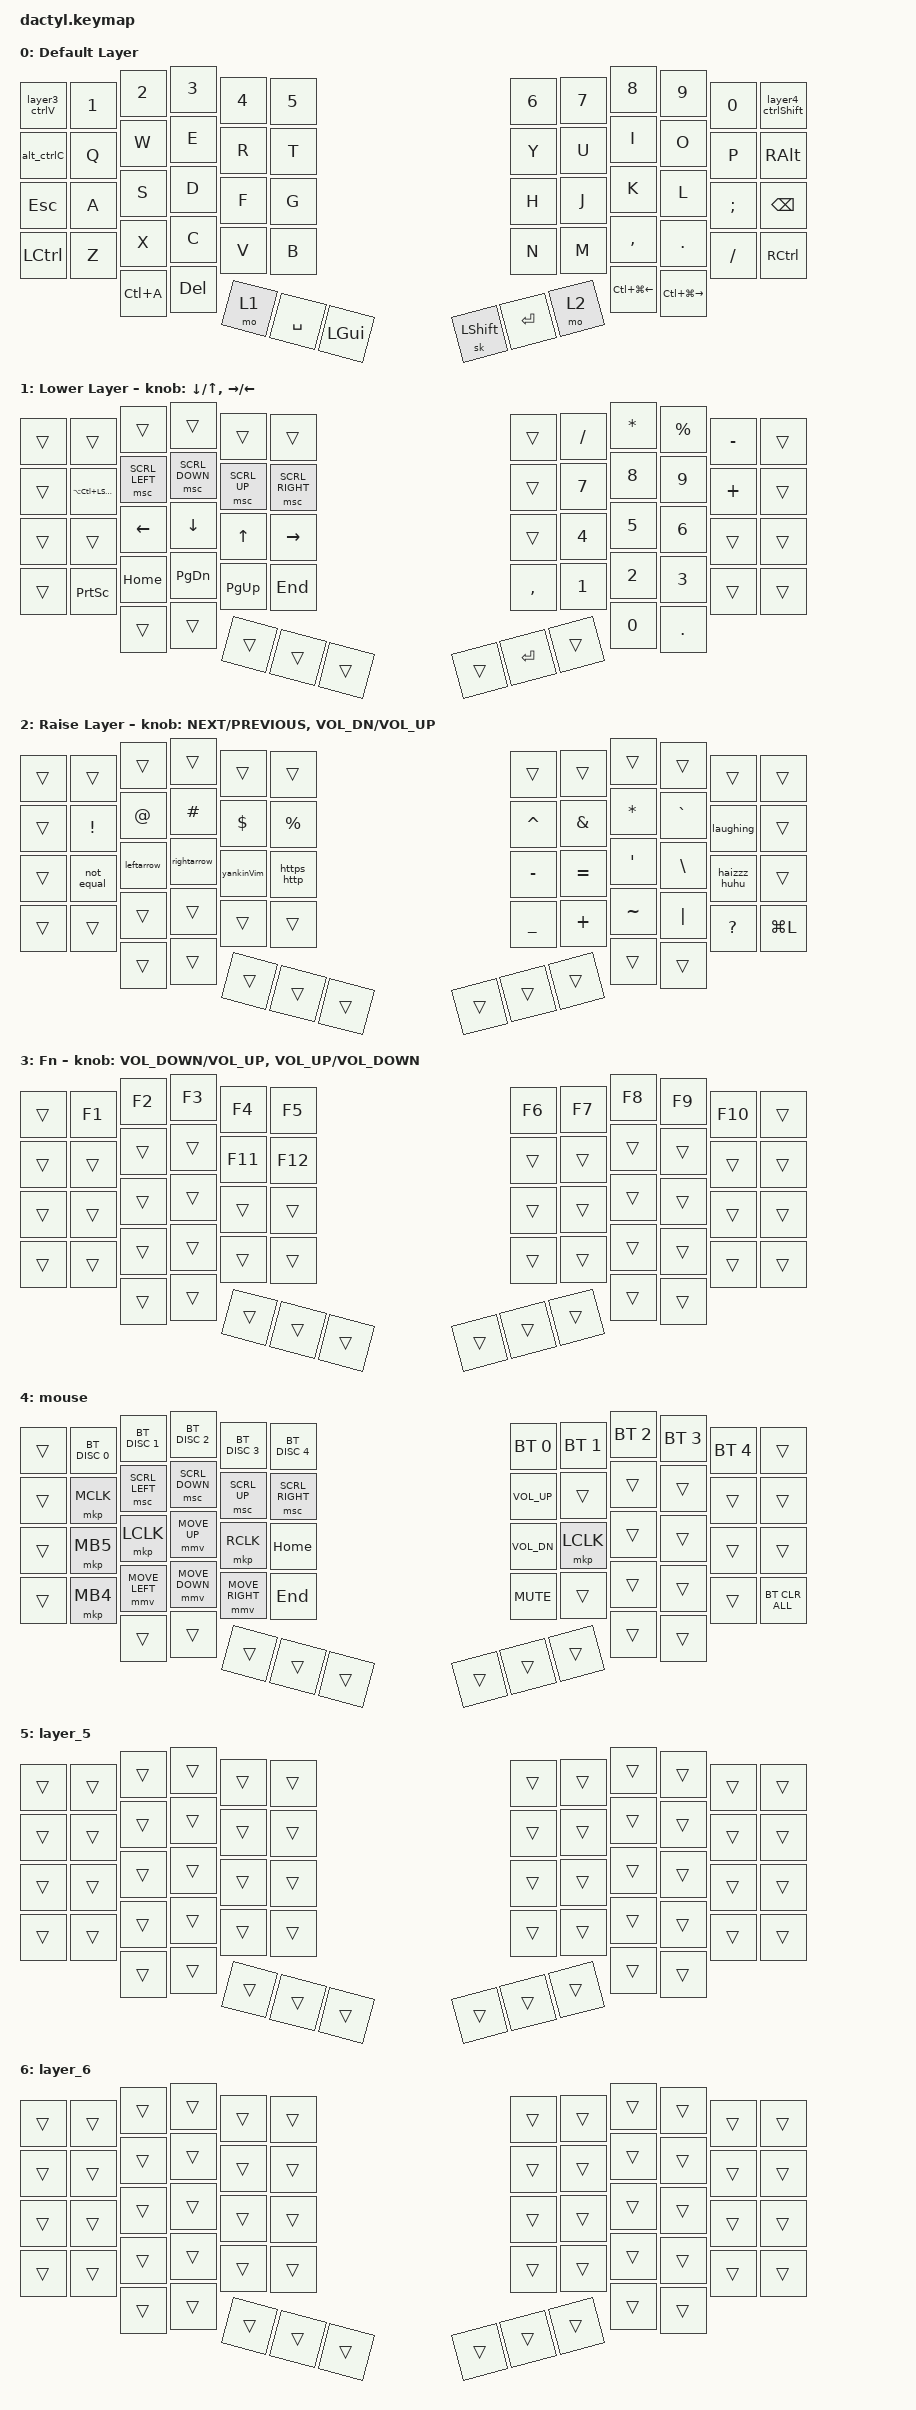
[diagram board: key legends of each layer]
/*
 * Copyright (c) 2020 The ZMK Contributors
 *
 * SPDX-License-Identifier: MIT
 */

#include <input/processors.dtsi>
#include <zephyr/dt-bindings/input/input-event-codes.h>
#include <dt-bindings/zmk/mouse.h>
#include <behaviors/mouse_keys.dtsi>
#include <behaviors.dtsi>
#include <dt-bindings/zmk/bt.h>
#include <dt-bindings/zmk/keys.h>
#include <dt-bindings/zmk/pointing.h>

#define ZMK_POINTING_DEFAULT_MOVE_VAL 1200  // 600
#define ZMK_POINTING_DEFAULT_SCRL_VAL 200   // mousescroll SPEED

&mmv_input_listener { input-processors = <&zip_xy_scaler 2 1>; };

&msc_input_listener { input-processors = <&zip_scroll_scaler 2 1>; };

&msc {
    acceleration-exponent = <1>;      // 0
    time-to-max-speed-ms = <3000>;       // 300
    delay-ms = <0>;                   // 0
};

&mmv {
    time-to-max-speed-ms = <1000>;
    acceleration-exponent = <1>;
    trigger-period-ms = <16>;
};

&soft_off {
    hold-time-ms = <3000>; // Only turn off it the key is held for 3 seconds or longer.
};

&mt {
    tapping-term-ms = <300>;
    flavor = "tap-preferred";
};

&lt { tapping-term-ms = <300>; };

&sk {
    quick-release;
    lazy;
};

/ {
    behaviors {
        laughing: laughing {
            compatible = "zmk,behavior-tap-dance";
            label = "LAUGHING";
            #binding-cells = <0>;
            bindings = <&hihi>, <&haha>;
        };

        https_http: https_http {
            compatible = "zmk,behavior-tap-dance";
            label = "HTTPS_HTTP";
            #binding-cells = <0>;
            bindings = <&https>, <&http>;
        };

        haizzz_huhu: haizzz_huhu {
            compatible = "zmk,behavior-tap-dance";
            label = "HAIZZZ_HUHU";
            #binding-cells = <0>;
            bindings = <&haizzzz>, <&huhu>;
        };

        layer3_ctrlV: layer3_ctrlV {
            compatible = "zmk,behavior-tap-dance";
            label = "LAYER3_CTRLV";
            #binding-cells = <0>;
            bindings = <&mo 3>, <&kp LC(V)>;
        };

        layer4_ctrlShift: layer4_ctrlShift {
            compatible = "zmk,behavior-tap-dance";
            label = "LAYER4_CTRLSHIFT";
            #binding-cells = <0>;
            bindings = <&mo 4>, <&kp LC(LEFT_SHIFT)>;
        };

        alt_ctrlC: alt_ctrlC {
            compatible = "zmk,behavior-tap-dance";
            label = "ALT_CTRLC";
            #binding-cells = <0>;
            bindings = <&kp LEFT_ALT>, <&kp LC(C)>;
        };

        stk_Shift_mo2: stk_Shift_mo2 {
            compatible = "zmk,behavior-hold-tap";
            label = "STK_SHIFT_MO2";
            bindings = <&mo>, <&sk>;

            #binding-cells = <2>;
            tapping-term-ms = <1>;
            flavor = "balanced";
        };
    };

    combos {
        compatible = "zmk,combos";

        leftParenthesis {
            bindings = <&kp LEFT_PARENTHESIS>;
            key-positions = <20 19>;
            layers = <0 1 2>;
        };

        rightParenthesis {
            bindings = <&kp RIGHT_PARENTHESIS>;
            key-positions = <20 21>;
            layers = <0 1 2>;
        };

        leftBracket {
            bindings = <&kp LEFT_BRACKET>;
            key-positions = <31 32>;
            layers = <0 1 2>;
        };

        rightBracket {
            bindings = <&kp RIGHT_BRACKET>;
            key-positions = <32 33>;
            layers = <0 1 2>;
        };

        leftBrace {
            bindings = <&kp LEFT_BRACE>;
            key-positions = <43 44>;
            layers = <0 1 2>;
        };

        rightBrace {
            bindings = <&kp RIGHT_BRACE>;
            key-positions = <44 45>;
            layers = <0 1 2>;
        };

        doubleQuotes {
            bindings = <&kp DOUBLE_QUOTES>;
            key-positions = <19 21>;
            layers = <0 1 2>;
        };

        lessThan {
            bindings = <&kp LESS_THAN>;
            key-positions = <31 33>;
            layers = <0 1 2>;
        };

        greaterThan {
            bindings = <&kp GREATER_THAN>;
            key-positions = <43 45>;
            layers = <0 1 2>;
        };

        colon {
            bindings = <&kp COLON>;
            key-positions = <33 34>;
            layers = <0 1 2>;
        };

        backSpace {
            bindings = <&kp BACKSPACE>;
            key-positions = <37 38>;
            layers = <0 1 2>;
        };

        delete {
            bindings = <&kp DELETE>;
            key-positions = <38 39>;
            layers = <0 1 2>;
        };

        shift {
            bindings = <&kp LEFT_SHIFT>;
            key-positions = <39 40>;
            layers = <0>;
        };

        return {
            bindings = <&kp RET>;
            key-positions = <28 41>;
            layers = <0 1 2>;
        };

        tab {
            bindings = <&kp TAB>;
            key-positions = <28 27>;
            layers = <0 1 2>;
        };

        capsLock {
            bindings = <&kp CAPSLOCK>;
            key-positions = <18 19>;
            layers = <0 1 2>;
        };

        capsWords {
            bindings = <&caps_word>;
            key-positions = <30 31>;
            layers = <0 1 2>;
        };

        stickyShift {
            bindings = <&sk LEFT_SHIFT>;
            key-positions = <31 34>;
        };
    };

    macros {
        hihi: laughing {
            compatible = "zmk,behavior-macro";
            #binding-cells = <0>;
            bindings = <&none &kp COLON &kp RPAR &kp RPAR &kp RPAR>;
            label = "LAUGHING";
        };

        haha: haha {
            compatible = "zmk,behavior-macro";
            #binding-cells = <0>;
            bindings = <&none &kp EQUAL &kp RPAR &kp RPAR &kp RPAR &kp RPAR &kp RPAR &kp RPAR &kp RPAR &kp RPAR>;
            label = "HAHA";
        };

        yankinVim: yankinVim {
            compatible = "zmk,behavior-macro";
            #binding-cells = <0>;
            bindings = <&none &kp DQT &kp PLUS &kp Y>;
            label = "YANKINVIM";
        };

        https: https {
            compatible = "zmk,behavior-macro";
            #binding-cells = <0>;
            bindings = <&none &kp H &kp T &kp T &kp P &kp S &kp COLON &kp FSLH &kp FSLH>;
            label = "HTTPS";
        };

        http: http {
            compatible = "zmk,behavior-macro";
            #binding-cells = <0>;
            bindings = <&none &kp H &kp T &kp T &kp P &kp COLON &kp FSLH &kp FSLH>;
            label = "HTTP";
        };

        rightarrow: rightarrow {
            compatible = "zmk,behavior-macro";
            #binding-cells = <0>;
            bindings = <&none &kp MINUS &kp GT>;
            label = "RIGHTARROW";
        };

        haizzzz: haizzzz {
            compatible = "zmk,behavior-macro";
            #binding-cells = <0>;
            bindings = <&none &kp EQUAL &kp DOT &kp EQUAL>;
            label = "HAIZZZZ";
        };

        huhu: huhu {
            compatible = "zmk,behavior-macro";
            #binding-cells = <0>;
            bindings = <&none &kp COLON &kp LPAR &kp LPAR &kp LPAR &kp LPAR>;
            label = "HUHU";
        };

        leftarrow: leftarrow {
            compatible = "zmk,behavior-macro";
            #binding-cells = <0>;
            bindings = <&none &kp LT &kp MINUS>;
            label = "LEFTARROW";
        };

        not_equal: not_equal {
            compatible = "zmk,behavior-macro";
            #binding-cells = <0>;
            bindings = <&none &kp EXCL &kp EQUAL>;
            label = "NOT_EQUAL";
        };

        left_arrow: left_arrow {
            compatible = "zmk,behavior-macro";
            #binding-cells = <0>;
            bindings = <&none &kp LT &kp MINUS>;
            label = "LEFT_ARROW";
        };
    };

    keymap {
        compatible = "zmk,keymap";

        default_layer {
            display-name = "Default Layer";
            bindings = <
&layer3_ctrlV     &kp N1        &kp N2     &kp N3      &kp N4  &kp N5     &kp N6   &kp N7  &kp N8            &kp N9             &kp N0          &layer4_ctrlShift
&alt_ctrlC        &kp Q         &kp W      &kp E       &kp R   &kp T      &kp Y    &kp U   &kp I             &kp O              &kp P           &kp RIGHT_ALT
&kp ESCAPE        &kp A         &kp S      &kp D       &kp F   &kp G      &kp H    &kp J   &kp K             &kp L              &kp SEMI        &kp BACKSPACE
&kp LEFT_CONTROL  &kp Z         &kp X      &kp C       &kp V   &kp B      &kp N    &kp M   &kp COMMA         &kp DOT            &kp FSLH        &kp RCTRL
                  &kp LEFT_GUI  &kp LC(A)  &kp DELETE  &mo 1   &kp SPACE  &kp RET  &mo 2   &kp LC(LG(LEFT))  &kp LC(LG(RIGHT))  &sk LEFT_SHIFT
            >;
        };

        numbers {
            display-name = "Lower Layer";
            bindings = <
&trans  &trans                  &trans          &trans          &trans        &trans           &trans     &kp SLASH     &kp ASTERISK  &kp PERCENT   &kp MINUS  &trans
&trans  &kp LA(LC(LEFT_SHIFT))  &msc SCRL_LEFT  &msc SCRL_DOWN  &msc SCRL_UP  &msc SCRL_RIGHT  &trans     &kp NUMBER_7  &kp NUMBER_8  &kp NUMBER_9  &kp PLUS   &trans
&trans  &trans                  &kp LEFT_ARROW  &kp DOWN        &kp UP_ARROW  &kp RIGHT        &trans     &kp NUMBER_4  &kp NUMBER_5  &kp NUMBER_6  &trans     &trans
&trans  &kp PRINTSCREEN         &kp HOME        &kp PAGE_DOWN   &kp PG_UP     &kp END          &kp COMMA  &kp NUMBER_1  &kp NUMBER_2  &kp NUMBER_3  &trans     &trans
        &trans                  &trans          &trans          &trans        &trans           &kp RET    &trans        &kp NUMBER_0  &kp DOT       &trans
            >;

            sensor-bindings =
                <&inc_dec_kp DOWN UP_ARROW>,
                <&inc_dec_kp RIGHT LEFT>;
        };

        characters {
            display-name = "Raise Layer";
            bindings = <
&trans  &trans           &trans       &trans       &trans      &trans       &trans          &trans         &trans            &trans         &trans        &trans
&trans  &kp EXCLAMATION  &kp AT_SIGN  &kp HASH     &kp DOLLAR  &kp PERCENT  &kp CARET       &kp AMPERSAND  &kp ASTERISK      &kp GRAVE      &laughing     &trans
&trans  &not_equal       &leftarrow   &rightarrow  &yankinVim  &https_http  &kp MINUS       &kp EQUAL      &kp SINGLE_QUOTE  &kp BACKSLASH  &haizzz_huhu  &trans
&trans  &trans           &trans       &trans       &trans      &trans       &kp UNDERSCORE  &kp PLUS       &kp TILDE         &kp PIPE       &kp QUESTION  &kp LG(L)
        &trans           &trans       &trans       &trans      &trans       &trans          &trans         &trans            &trans         &trans
            >;

            sensor-bindings =
                <&inc_dec_kp C_NEXT C_PREVIOUS>,
                <&inc_dec_kp C_VOL_DN C_VOL_UP>;
        };

        Fn {
            bindings = <
&trans  &kp F1  &kp F2  &kp F3  &kp F4   &kp F5   &kp F6  &kp F7  &kp F8  &kp F9  &kp F10  &trans
&trans  &trans  &trans  &trans  &kp F11  &kp F12  &trans  &trans  &trans  &trans  &trans   &trans
&trans  &trans  &trans  &trans  &trans   &trans   &trans  &trans  &trans  &trans  &trans   &trans
&trans  &trans  &trans  &trans  &trans   &trans   &trans  &trans  &trans  &trans  &trans   &trans
        &trans  &trans  &trans  &trans   &trans   &trans  &trans  &trans  &trans  &trans
            >;

            sensor-bindings =
                <&inc_dec_kp C_VOLUME_DOWN C_VOLUME_UP>,
                <&inc_dec_kp C_VOLUME_UP C_VOLUME_DOWN>;
        };

        mouse {
            bindings = <
&trans  &bt BT_DISC 0  &bt BT_DISC 1   &bt BT_DISC 2   &bt BT_DISC 3    &bt BT_DISC 4    &bt BT_SEL 0     &bt BT_SEL 1  &bt BT_SEL 2  &bt BT_SEL 3  &bt BT_SEL 4  &trans
&trans  &mkp MCLK      &msc SCRL_LEFT  &msc SCRL_DOWN  &msc SCRL_UP     &msc SCRL_RIGHT  &kp C_VOLUME_UP  &trans        &trans        &trans        &trans        &trans
&trans  &mkp MB5       &mkp LCLK       &mmv MOVE_UP    &mkp RCLK        &kp HOME         &kp C_VOL_DN     &mkp LCLK     &trans        &trans        &trans        &trans
&trans  &mkp MB4       &mmv MOVE_LEFT  &mmv MOVE_DOWN  &mmv MOVE_RIGHT  &kp END          &kp K_MUTE       &trans        &trans        &trans        &trans        &bt BT_CLR_ALL
        &trans         &trans          &trans          &trans           &trans           &trans           &trans        &trans        &trans        &trans
            >;
        };

        layer_5 {
            bindings = <
&trans  &trans  &trans  &trans  &trans  &trans  &trans  &trans  &trans  &trans  &trans  &trans
&trans  &trans  &trans  &trans  &trans  &trans  &trans  &trans  &trans  &trans  &trans  &trans
&trans  &trans  &trans  &trans  &trans  &trans  &trans  &trans  &trans  &trans  &trans  &trans
&trans  &trans  &trans  &trans  &trans  &trans  &trans  &trans  &trans  &trans  &trans  &trans
        &trans  &trans  &trans  &trans  &trans  &trans  &trans  &trans  &trans  &trans
            >;
        };

        layer_6 {
            bindings = <
&trans  &trans  &trans  &trans  &trans  &trans  &trans  &trans  &trans  &trans  &trans  &trans
&trans  &trans  &trans  &trans  &trans  &trans  &trans  &trans  &trans  &trans  &trans  &trans
&trans  &trans  &trans  &trans  &trans  &trans  &trans  &trans  &trans  &trans  &trans  &trans
&trans  &trans  &trans  &trans  &trans  &trans  &trans  &trans  &trans  &trans  &trans  &trans
        &trans  &trans  &trans  &trans  &trans  &trans  &trans  &trans  &trans  &trans
            >;
        };
    };
};
